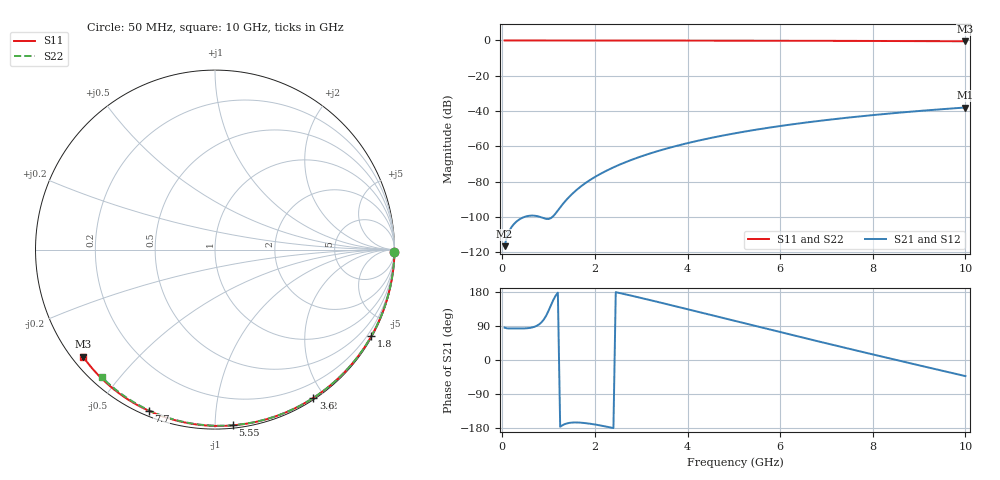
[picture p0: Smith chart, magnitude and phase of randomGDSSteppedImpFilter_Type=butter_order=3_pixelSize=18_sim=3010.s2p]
! freq	dB(S11)	phase(S11)	dB(S12)	phase(S12)
!  dB(S21)	phase(S21)	dB(S22)	phase(S22)
!S-par simulation data
#  GHz  S  DB  R 50
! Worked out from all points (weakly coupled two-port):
!   200 points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, 50 MHz to 10 GHz, reference 50 ohm
!   highest |S21| = -38.01 dB at 10 GHz (marker M1); lowest = -116.6 dB at 50 MHz (marker M2)
!   lowest |S11| = -0.5 dB at 10 GHz (marker M3), VSWR 36.56, Z = 1.54 - j17.7 ohm
!   |S11| at or under -10 dB: nowhere
!   |S22| runs from -0.4 to 0.0 dB; largest |S21 - S12| = 0
!   S11 on the Smith chart (normalised r, x): 50 MHz: open; 1.8 GHz: 0.03, -3.88; 3.6 GHz: 0.02, -1.86; 5.55 GHz: 0.02, -1.11; 7.7 GHz: 0.02, -0.67; 10 GHz: 0.03, -0.35
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0.05  -0.00 -0.8  -116.62 85.3  -116.62 85.3  -0.00 -0.8
0.45  -0.01 -7.3  -100.33 83.2  -100.33 83.2  -0.01 -6.8
0.9  -0.02 -14.6  -100.82 107.4  -100.82 107.4  -0.02 -13.6
1.75  -0.04 -28.2  -81.71 -166.0  -81.71 -166.0  -0.03 -26.3
1.8  -0.04 -28.9  -80.77 -166.6  -80.77 -166.6  -0.03 -27.0
1.85  -0.04 -29.7  -79.88 -167.4  -79.88 -167.4  -0.04 -27.7
2  -0.04 -32.1  -77.40 -170.2  -77.40 -170.2  -0.04 -29.9
2.15  -0.04 -34.4  -75.19 -173.5  -75.19 -173.5  -0.04 -32.1
2.35  -0.05 -37.5  -72.56 -178.4  -72.56 -178.4  -0.04 -35.0
2.55  -0.05 -40.6  -70.20 176.3  -70.20 176.3  -0.05 -37.9
2.95  -0.06 -46.7  -66.17 165.1  -66.17 165.1  -0.06 -43.6
3.4  -0.07 -53.5  -62.38 152.0  -62.38 152.0  -0.07 -50.0
3.6  -0.08 -56.5  -60.90 146.0  -60.90 146.0  -0.07 -52.8
4.3  -0.09 -66.7  -56.40 125.0  -56.40 125.0  -0.09 -62.4
5.05  -0.12 -77.3  -52.50 102.3  -52.50 102.3  -0.11 -72.3
5.55  -0.14 -84.2  -50.29 87.2  -50.29 87.2  -0.13 -78.8
6.1  -0.16 -91.7  -48.13 70.7  -48.13 70.7  -0.15 -85.8
6.7  -0.19 -99.6  -46.05 52.8  -46.05 52.8  -0.18 -93.2
7.7  -0.26 -112.4  -43.10 23.4  -43.10 23.4  -0.24 -105.2
8.35  -0.31 -120.6  -41.45 4.6  -41.45 4.6  -0.29 -112.8
9.2  -0.39 -131.1  -39.56 -19.8  -39.56 -19.8  -0.36 -122.6
10  -0.48 -141.0  -38.01 -42.5  -38.01 -42.5  -0.45 -131.7
